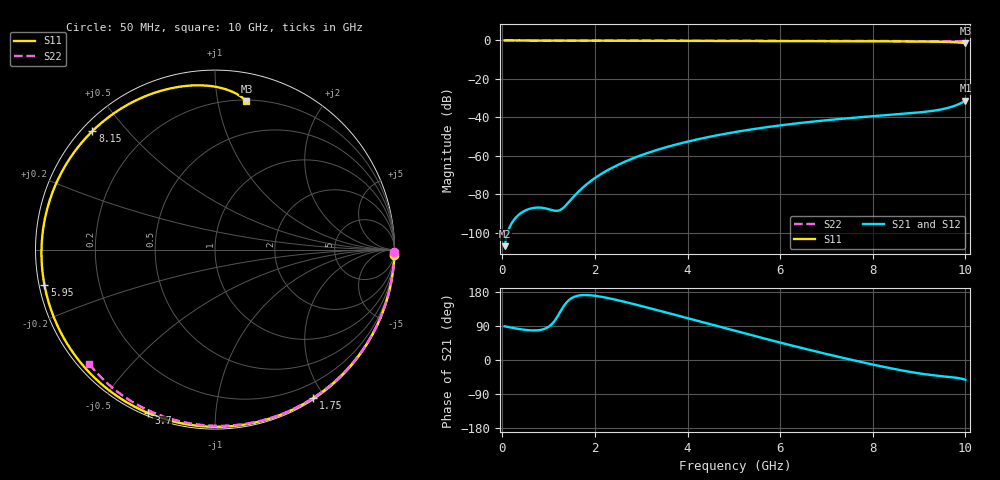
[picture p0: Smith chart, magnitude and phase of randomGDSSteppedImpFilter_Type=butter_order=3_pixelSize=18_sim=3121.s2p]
! freq	dB(S11)	phase(S11)	dB(S12)	phase(S12)
!  dB(S21)	phase(S21)	dB(S22)	phase(S22)
!S-par simulation data
#  GHz  S  DB  R 50
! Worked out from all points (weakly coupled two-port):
!   200 points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, 50 MHz to 10 GHz, reference 50 ohm
!   highest |S21| = -31.30 dB at 10 GHz (marker M1); lowest = -107.0 dB at 50 MHz (marker M2)
!   lowest |S11| = -1.5 dB at 10 GHz (marker M3), VSWR 11.90, Z = 10.5 + j60.6 ohm
!   |S11| at or under -10 dB: nowhere
!   |S22| runs from -0.5 to 0.0 dB; largest |S21 - S12| = 0
!   S11 on the Smith chart (normalised r, x): 50 MHz: 0, -68; 1.75 GHz: 0.02, -1.85; 3.7 GHz: 0.01, -0.67; 5.95 GHz: 0.02, -0.10; 8.15 GHz: 0.03, +0.40; 10 GHz: 0.21, +1.21
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0.05  -0.00 -1.7  -107.03 88.9  -107.03 88.9  -0.00 -0.8
0.4  -0.02 -13.3  -89.84 81.1  -89.84 81.1  -0.01 -6.4
0.75  -0.03 -24.8  -86.95 78.2  -86.95 78.2  -0.02 -11.9
1.55  -0.06 -50.5  -81.04 166.5  -81.04 166.5  -0.03 -24.4
1.6  -0.06 -52.0  -79.76 168.7  -79.76 168.7  -0.03 -25.2
1.75  -0.07 -56.7  -76.29 171.3  -76.29 171.3  -0.04 -27.5
2.05  -0.08 -65.8  -70.77 168.6  -70.77 168.6  -0.04 -32.1
2.45  -0.10 -77.6  -65.28 159.0  -65.28 159.0  -0.05 -38.2
2.9  -0.11 -90.5  -60.59 145.7  -60.59 145.7  -0.06 -45.0
3.4  -0.13 -104.2  -56.52 129.8  -56.52 129.8  -0.07 -52.3
3.7  -0.14 -112.2  -54.47 120.1  -54.47 120.1  -0.08 -56.7
4.4  -0.17 -130.2  -50.50 97.2  -50.50 97.2  -0.10 -66.7
5.05  -0.20 -146.4  -47.56 76.0  -47.56 76.0  -0.12 -75.7
5.95  -0.26 -168.4  -44.34 47.5  -44.34 47.5  -0.15 -87.8
6.7  -0.31 173.2  -42.24 24.7  -42.24 24.7  -0.19 -97.5
7.4  -0.37 155.7  -40.62 4.4  -40.62 4.4  -0.23 -106.3
8.15  -0.44 136.0  -39.14 -15.9  -39.14 -15.9  -0.29 -115.6
8.35  -0.47 130.5  -38.77 -20.9  -38.77 -20.9  -0.30 -118.1
8.9  -0.55 115.0  -37.69 -33.3  -37.69 -33.3  -0.35 -124.7
9.35  -0.65 101.3  -36.42 -40.9  -36.42 -40.9  -0.40 -130.1
9.7  -0.85 89.5  -34.55 -45.3  -34.55 -45.3  -0.44 -134.3
10  -1.46 78.0  -31.30 -52.1  -31.30 -52.1  -0.47 -137.9
